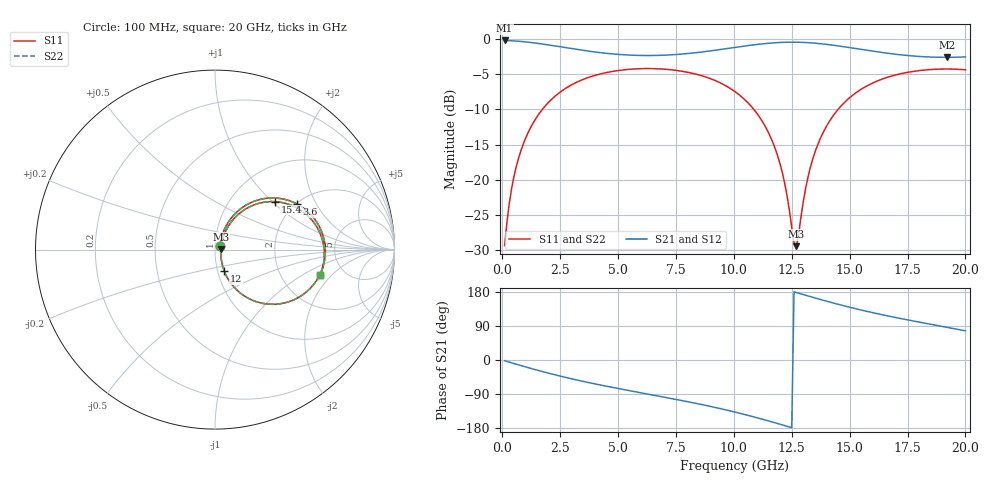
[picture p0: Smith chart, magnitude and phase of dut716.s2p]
! Touchstone file exported from HFSS 2026.1.0
!  File:  C:/ffzhzh/LocalFiles/Ansys_Project_Files/temp_train_TSV_RDL_716_1783201027_43440.aedt
!  Generated:  05:50:13 AM Jul  5, 2026
!  Design:  TSV_RDL
!  Project:  temp_train_TSV_RDL_716_1783201027_43440
! Variables:
!  h_bsmrdl = 4.86um
!  h_ox = 20um
!  h_rdl = 5um
!  h_sub = 52.79um
!  h_tmrdl = 3.19um
!  h_tsv = 52.79um
!  h_via = 3um
!  l_bsmrdl = 795.99um
!  l_sub = 5091.26um
!  l_tmrdl = 550.87um
!  m_sub = 200um
!  pitch = 47.93um
!  r_tsv = 10.59um
!  s_tmrdl = 10um
!  w_bsmrdl = 11.31um
!  w_sub = 500um
!  w_tmrdl = 21.96um
!  x_tsv_center1 = 561.85um
!  x_tsv_center2 = 1369.15um
!  x_tsv_center3 = 1941.98um
!  x_tsv_center4 = 2749.28um
!  x_tsv_center5 = 3322.11um
!  x_tsv_center6 = 4129.41um
# GHz S MA R 50.000000
! Terminal data exported
! Port[1] = TM_RDL1_1_T1
! Port[2] = TM_RDL5_1_T1
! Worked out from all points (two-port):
!   200 points, 100 MHz to 20 GHz, reference 50 ohm
!   highest |S21| = -0.24 dB at 100 MHz (marker M1); lowest = -2.6 dB at 19.2 GHz (marker M2)
!   |S21| within 3 dB of the highest: start of sweep to end of sweep
!   lowest |S11| = -29.4 dB at 12.7 GHz (marker M3), VSWR 1.07, Z = 53.5 + j0.383 ohm
!   |S11| at or under -10 dB: start of sweep to 1.733 GHz; 10.86 GHz to 14.5 GHz (3.644 GHz wide, 28.7 % of centre)
!   |S22| runs from -29.4 to -4.2 dB; largest |S21 - S12| = 1.6e-14
!   S11 on the Smith chart (normalised r, x): 100 MHz: 1.06, +0.04; 3.6 GHz: 2.03, +1.42; 12 GHz: 1.08, -0.26; 15.4 GHz: 1.59, +1.04; 20 GHz: 3.35, -1.46
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0.1  0.03416 36.1  0.9728 -1.9  0.9728 -1.9  0.03416 36.1
! Gamma 0 0 0 0
! Port Impedance 50 0 50 0
0.3  0.06786 59.7  0.9698 -5.6  0.9698 -5.6  0.06786 59.7
0.5  0.1049 64.4  0.9654 -9.3  0.9654 -9.3  0.1049 64.4
1.1  0.2135 61.8  0.9464 -19.9  0.9464 -19.9  0.2135 61.8
2.1  0.3686 48.8  0.8988 -36.4  0.8988 -36.4  0.3686 48.8
3.5  0.5157 30.2  0.827 -56.6  0.827 -56.6  0.5157 30.2
3.6  0.5233 29.0  0.8225 -57.9  0.8225 -57.9  0.5233 29.0
5.2  0.601 10.3  0.771 -77.5  0.771 -77.5  0.601 10.3
6.8  0.6118 -7.2  0.763 -95.8  0.763 -95.8  0.6118 -7.2
8.4  0.5595 -25.2  0.7981 -114.8  0.7981 -114.8  0.5595 -25.2
10.1  0.4164 -46.6  0.8711 -138.2  0.8711 -138.2  0.4164 -46.6
11.2  0.2644 -61.0  0.9195 -155.7  0.9195 -155.7  0.2644 -61.0
12  0.1289 -66.7  0.9416 -169.6  0.9416 -169.6  0.1289 -66.7
12.6  0.03583 -23.3  0.946 179.7  0.946 179.7  0.03568 -23.4
12.7  0.03388 6.1  0.9456 177.9  0.9456 177.9  0.03373 6.1
13.1  0.08705 56.8  0.9406 170.8  0.9406 170.8  0.087 56.8
13.4  0.139 60.3  0.9337 165.5  0.9337 165.5  0.139 60.3
14.2  0.2712 53.9  0.9043 151.9  0.9043 151.9  0.2712 53.9
15.4  0.4283 38.6  0.8455 133.3  0.8455 133.3  0.4283 38.6
16.7  0.5376 22.6  0.7869 115.7  0.7869 115.7  0.5376 22.6
19.2  0.6104 -4.8  0.7386 86.2  0.7386 86.2  0.6104 -4.8
20  0.6027 -13.3  0.744 77.1  0.744 77.1  0.6027 -13.3
